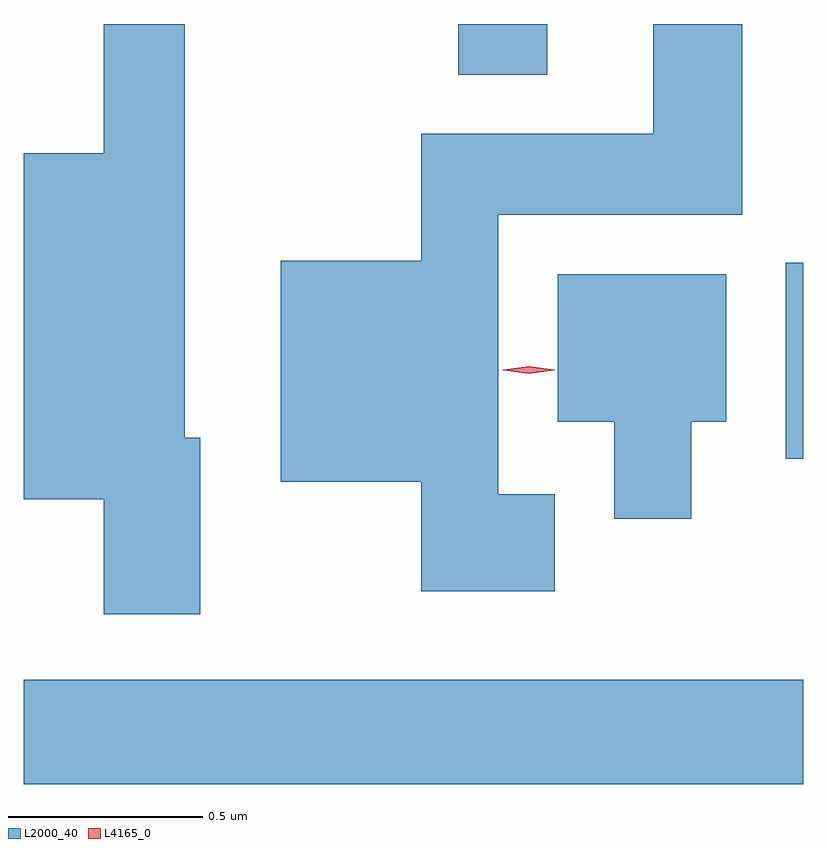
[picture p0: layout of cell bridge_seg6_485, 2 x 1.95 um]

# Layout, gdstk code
import gdstk
lib = gdstk.Library(unit=1e-6, precision=1e-09)
def R(c, l, rs):  # rectangles x0, y0, x1, y1
    for r in rs: c.add(gdstk.rectangle(r[:2], r[2:], *l))
def P(c, l, *ps):  # polygons
    for p in ps: c.add(gdstk.Polygon(p, *l))
L2000_40 = (2000, 40)
L4165_0 = (4165, 0)

bridge_seg6_485 = lib.new_cell('bridge_seg6_485')
R(bridge_seg6_485, L2000_40, [(667.896,1570.016,669.896,1570.284), (669.851,1570.851,669.896,1571.354), (669.011,1571.836,669.239,1571.966)])
P(bridge_seg6_485, L2000_40, [(669.259,1570.759),(669.114,1570.759),(669.114,1571.476),(669.739,1571.476),(669.739,1571.966),(669.511,1571.966),(669.511,1571.684),(668.916,1571.684),(668.916,1571.359),(668.556,1571.359),(668.556,1570.791),(668.916,1570.791),(668.916,1570.511),(669.259,1570.511)],
  [(668.349,1570.904),(668.309,1570.904),(668.309,1571.966),(668.101,1571.966),(668.101,1571.634),(667.896,1571.634),(667.896,1570.746),(668.101,1570.746),(668.101,1570.451),(668.349,1570.451)],
  [(669.609,1570.946),(669.699,1570.946),(669.699,1571.324),(669.266,1571.324),(669.266,1570.946),(669.411,1570.946),(669.411,1570.696),(669.609,1570.696)])
P(bridge_seg6_485, L4165_0, [(669.192,1571.068),(669.126,1571.078),(669.125,1571.078),(669.126,1571.079),(669.192,1571.088),(669.258,1571.079),(669.258,1571.078),(669.258,1571.078)])

lib.write_gds('bridge_seg6_485.gds')
